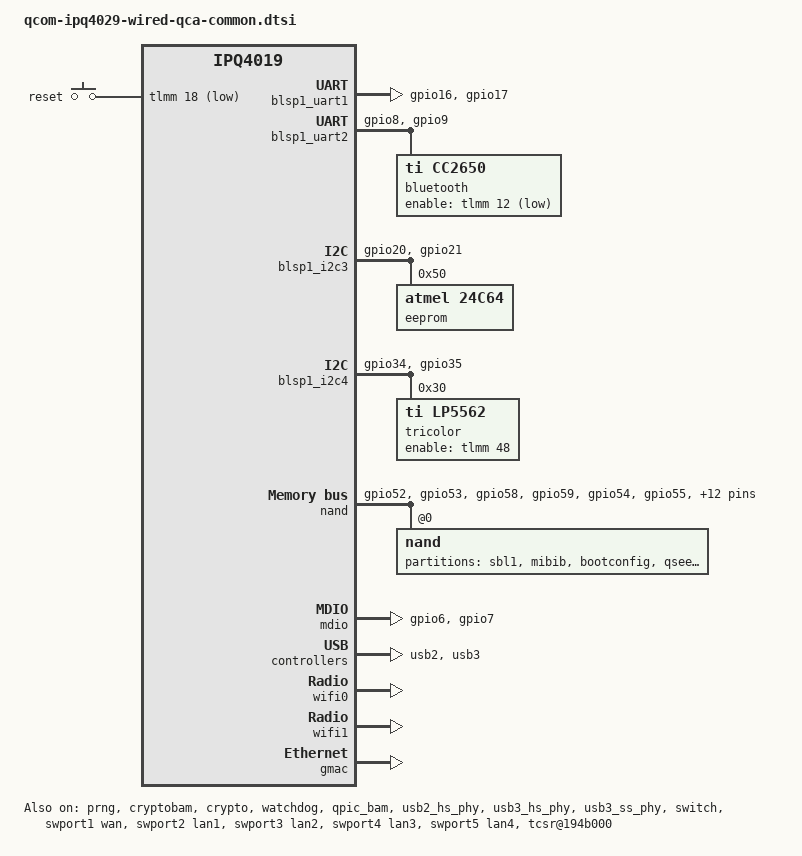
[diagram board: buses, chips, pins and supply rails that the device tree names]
// SPDX-License-Identifier: GPL-2.0-only
/*
 * Device Tree Source for Meraki "wired-arm-qca" series
 *
 * Copyright (C) 2017 Chris Blake <chrisrblake93@gmail.com>
 * Copyright (C) 2017 Christian Lamparter <chunkeey@googlemail.com>
 * Copyright (C) 2025 Hal Martin <halmartin@googlemail.com>
 *
 */

#include "qcom-ipq4019.dtsi"
#include <dt-bindings/gpio/gpio.h>
#include <dt-bindings/input/input.h>
#include <dt-bindings/soc/qcom,tcsr.h>
#include <dt-bindings/leds/common.h>

/ {
	aliases {
		led-boot = &status_green;
		led-failsafe = &status_red;
		led-running = &status_green;
		led-upgrade = &power_orange;
	};

	soc {
		/* It is a 56-bit counter that supplies the count to the ARM arch
		   timers and without upstream driver */
		counter@4a1000 {
			compatible = "qcom,qca-gcnt";
			reg = <0x4a1000 0x4>;
		};

		ess_tcsr@1953000 {
			compatible = "qcom,tcsr";
			reg = <0x1953000 0x1000>;
			qcom,ess-interface-select = <TCSR_ESS_PSGMII>;
		};

		tcsr@1949000 {
			compatible = "qcom,tcsr";
			reg = <0x1949000 0x100>;
			qcom,wifi_glb_cfg = <TCSR_WIFI_GLB_CFG>;
		};

		tcsr@194b000 {
			/* select hostmode */
			compatible = "qcom,tcsr";
			reg = <0x194b000 0x100>;
			qcom,usb-hsphy-mode-select = <TCSR_USB_HSPHY_HOST_MODE>;
			status = "okay";
		};

		tcsr@1957000 {
			compatible = "qcom,tcsr";
			reg = <0x1957000 0x100>;
			qcom,wifi_noc_memtype_m0_m2 = <TCSR_WIFI_NOC_MEMTYPE_M0_M2>;
		};

	};

	keys {
		compatible = "gpio-keys";

		reset {
			label = "reset";
			gpios = <&tlmm 18 GPIO_ACTIVE_LOW>;
			linux,code = <KEY_RESTART>;
		};
	};

};

&prng {
	status = "okay";
};

&blsp_dma {
	status = "okay";
};

&blsp1_uart1 {
	pinctrl-0 = <&serial_0_pins>;
	pinctrl-names = "default";
	status = "okay";
};

&blsp1_uart2 {
	pinctrl-0 = <&serial_1_pins>;
	pinctrl-names = "default";
	status = "okay";

	bluetooth {
		compatible = "ti,cc2650";
		enable-gpios = <&tlmm 12 GPIO_ACTIVE_LOW>;
	};
};

&cryptobam {
	status = "okay";
};

&crypto {
	status = "okay";
};

&watchdog {
	status = "okay";
};

&blsp1_i2c3 {
	pinctrl-0 = <&i2c_0_pins>;
	pinctrl-names = "default";
	status = "okay";

	eeprom@50 {
		compatible = "atmel,24c64";
		pagesize = <32>;
		reg = <0x50>;
		read-only; /* This holds our MAC & Meraki board-data */

		nvmem-layout {
			compatible = "fixed-layout";
			#address-cells = <1>;
			#size-cells = <1>;

			mac_address: mac-address@66 {
				compatible = "mac-base";
				reg = <0x66 0x6>;
				#nvmem-cell-cells = <1>;
			};
		};
	};
};

&blsp1_i2c4 {
	pinctrl-0 = <&i2c_1_pins>;
	pinctrl-names = "default";
	status = "okay";

	tricolor: led-controller@30 {
		compatible = "ti,lp5562";
		reg = <0x30>;
		clock-mode = /bits/8 <2>;
		enable-gpio = <&tlmm 48 GPIO_ACTIVE_HIGH>;
		#address-cells = <1>;
		#size-cells = <0>;

		/* RGB led */
		status_red: chan@0 {
			chan-name = "red:status";
			led-cur = /bits/ 8 <0x20>;
			max-cur = /bits/ 8 <0x60>;
			reg = <0>;
			color = <LED_COLOR_ID_RED>;
		};

		status_green: chan@1 {
			chan-name = "green:status";
			led-cur = /bits/ 8 <0x20>;
			max-cur = /bits/ 8 <0x60>;
			reg = <1>;
			color = <LED_COLOR_ID_GREEN>;
		};

		chan@2 {
			chan-name = "blue:status";
			led-cur = /bits/ 8 <0x20>;
			max-cur = /bits/ 8 <0x60>;
			reg = <2>;
			color = <LED_COLOR_ID_BLUE>;
		};

		chan@3 {
			chan-name = "white:status";
			led-cur = /bits/ 8 <0x20>;
			max-cur = /bits/ 8 <0x60>;
			reg = <3>;
			color = <LED_COLOR_ID_WHITE>;
		};
	};
};

&nand {
	pinctrl-0 = <&nand_pins>;
	pinctrl-names = "default";
	status = "okay";

	nand@0 {
		partitions {
			compatible = "fixed-partitions";
			#address-cells = <1>;
			#size-cells = <1>;

			partition@0 {
				label = "sbl1";
				reg = <0x00000000 0x00100000>;
				read-only;
			};
			partition@100000 {
				label = "mibib";
				reg = <0x00100000 0x00100000>;
				read-only;
			};
			partition@200000 {
				label = "bootconfig";
				reg = <0x00200000 0x00100000>;
				read-only;
			};
			partition@300000 {
				label = "qsee";
				reg = <0x00300000 0x00100000>;
				read-only;
			};
			partition@400000 {
				label = "qsee_alt";
				reg = <0x00400000 0x00100000>;
				read-only;
			};
			partition@500000 {
				label = "cdt";
				reg = <0x00500000 0x00080000>;
				read-only;
			};
			partition@580000 {
				label = "cdt_alt";
				reg = <0x00580000 0x00080000>;
				read-only;
			};
			partition@600000 {
				label = "ddrparams";
				reg = <0x00600000 0x00080000>;
				read-only;
			};
			partition@700000 {
				label = "u-boot";
				reg = <0x00700000 0x00200000>;
				read-only;
			};
			partition@900000 {
				label = "u-boot-backup";
				reg = <0x00900000 0x00200000>;
				read-only;
			};
			partition@b00000 {
				label = "ART";
				reg = <0x00b00000 0x00080000>;
				read-only;
			};
			partition@c00000 {
				label = "ubi";
				reg = <0x00c00000 0x07000000>;
				/*
				 * Do not try to allocate the remaining
				 * 4 MiB to this ubi partition. It will
				 * confuse the u-boot and it might not
				 * find the kernel partition anymore.
				 */
			};
		};
	};
};

&qpic_bam {
	status = "okay";
};

&mdio {
	status = "okay";
	pinctrl-0 = <&mdio_pins>;
	pinctrl-names = "default";
};

&tlmm {
	mdio_pins: mdio_pinmux {
		mux_1 {
			pins = "gpio6";
			function = "mdio";
			bias-pull-up;
		};
		mux_2 {
			pins = "gpio7";
			function = "mdc";
			bias-pull-up;
		};
	};

	serial_0_pins: serial_pinmux {
		mux {
			pins = "gpio16", "gpio17";
			function = "blsp_uart0";
			bias-disable;
		};
	};

	serial_1_pins: serial1_pinmux {
		mux {
			/* We use the i2c-0 pins for serial_1 */
			pins = "gpio8", "gpio9";
			function = "blsp_uart1";
			bias-disable;
		};
	};

	i2c_0_pins: i2c_0_pinmux {
		pinmux {
			function = "blsp_i2c0";
			pins = "gpio20", "gpio21";
		};
		pinconf {
			pins = "gpio20", "gpio21";
			drive-strength = <16>;
			bias-disable;
		};
	};

	i2c_1_pins: i2c_1_pinmux {
		pinmux {
			function = "blsp_i2c1";
			pins = "gpio34", "gpio35";
		};
		pinconf {
			pins = "gpio34", "gpio35";
			drive-strength = <16>;
			bias-disable;
		};
	};

	nand_pins: nand_pins {
		/*
		 * There are 18 pins. 15 pins are common between LCD and NAND.
		 * The QPIC controller arbitrates between LCD and NAND. Of the
		 * remaining 4, 2 are for NAND and 2 are for LCD exclusively.
		 *
		 * The meraki source hints that the bluetooth module claims
		 * pin 52 as well. But sadly, there's no data whenever this
		 * is a NAND or LCD exclusive pin or not.
		 */

		pullups {
			pins = "gpio52", "gpio53", "gpio58",
				"gpio59";
			function = "qpic";
			bias-pull-up;
		};

		pulldowns {
			pins = "gpio54", "gpio55", "gpio56",
				"gpio57", "gpio60", "gpio61",
				"gpio62", "gpio63", "gpio64",
				"gpio65", "gpio66", "gpio67",
				"gpio68", "gpio69";
			function = "qpic";
			bias-pull-down;
		};
	};
};

&usb2_hs_phy {
		status = "okay";
};

&usb2 {
		status = "okay";
};

&usb3_hs_phy {
		status = "okay";
};

&usb3_ss_phy {
		status = "okay";
};

&usb3 {
		status = "okay";
};

&wifi0 {
	status = "okay";
	nvmem-cells = <&mac_address 2>;
	nvmem-cell-names = "mac-address";
};

&wifi1 {
	status = "okay";
	nvmem-cells = <&mac_address 3>;
	nvmem-cell-names = "mac-address";
};

&gmac {
	status = "okay";
	nvmem-cells = <&mac_address 0>;
	nvmem-cell-names = "mac-address";
};

&switch {
	status = "okay";
};

&swport1 {
	label = "wan";
	status = "okay";
};

&swport2 {
	label = "lan1";
	status = "okay";
};

&swport3 {
	label = "lan2";
	status = "okay";
};

&swport4 {
	label = "lan3";
	status = "okay";
};

&swport5 {
	label = "lan4";
	status = "okay";
};
